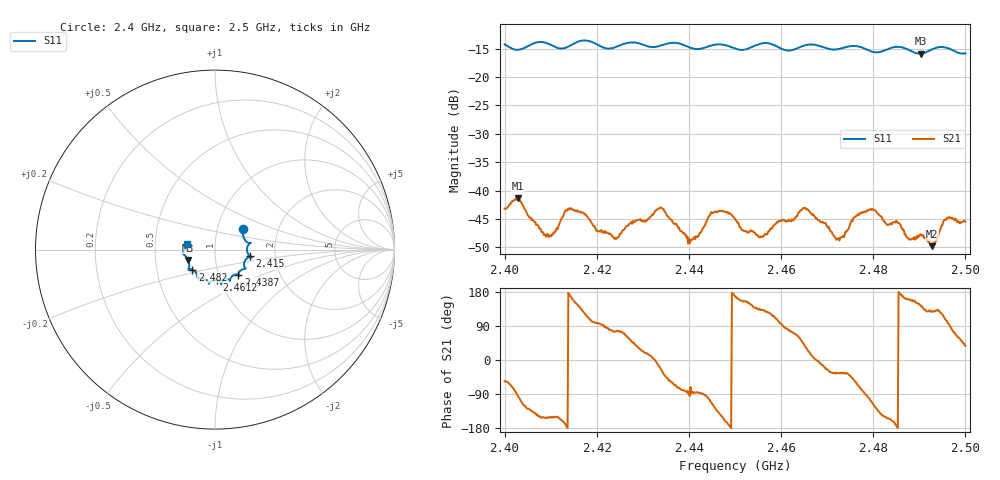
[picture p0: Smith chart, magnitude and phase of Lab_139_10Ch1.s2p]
# Hz S RI R 50
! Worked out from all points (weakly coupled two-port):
!   601 points, 2.4 GHz to 2.5 GHz, reference 50 ohm
!   highest |S21| = -41.36 dB at 2.4028 GHz (marker M1); lowest = -49.8 dB at 2.4928 GHz (marker M2)
!   lowest |S11| = -15.9 dB at 2.4903 GHz (marker M3), VSWR 1.38, Z = 36.8 - j4.42 ohm
!   |S11| at or under -10 dB: start of sweep to end of sweep
!   S12 and S22 are empty: the file has one direction only
!   S11 on the Smith chart (normalised r, x): 2.4 GHz: 1.33, +0.31; 2.415 GHz: 1.47, -0.11; 2.4387 GHz: 1.24, -0.36; 2.4612 GHz: 0.96, -0.34; 2.482 GHz: 0.76, -0.17; 2.5 GHz: 0.73, +0.05
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2.4e9  0.1575 0.1127  0.00387 -0.00576  0 0  0 0
2.402833e9  0.1607 0.065  -0.000444 -0.00854  0 0  0 0
2.409333e9  0.1945 0.0355  -0.00367 -0.00194  0 0  0 0
2.415e9  0.1928 -0.0365  -0.00617 0.00269  0 0  0 0
2.416667e9  0.2039 -0.0442  -0.00437 0.00461  0 0  0 0
2.424167e9  0.1616 -0.0872  0.000936 0.00362  0 0  0 0
2.433333e9  0.132 -0.1316  0.00668 -0.0016  0 0  0 0
2.438667e9  0.1308 -0.1413  0.000807 -0.00413  0 0  0 0
2.4415e9  0.1044 -0.142  0.00029 -0.00394  0 0  0 0
2.445333e9  0.0831 -0.1724  -0.00331 -0.00546  0 0  0 0
2.45e9  0.0686 -0.1645  -0.00546 0.00121  0 0  0 0
2.455667e9  0.0356 -0.1936  -0.00261 0.00291  0 0  0 0
2.461167e9  0.0102 -0.171  0.000638 0.00534  0 0  0 0
2.466667e9  -0.0345 -0.1903  0.00603 0.00124  0 0  0 0
2.472333e9  -0.0703 -0.1607  0.00312 -0.00217  0 0  0 0
2.4775e9  -0.0974 -0.154  0.00128 -0.00626  0 0  0 0
2.482e9  -0.1262 -0.1113  -0.00467 -0.00303  0 0  0 0
2.483333e9  -0.14 -0.1085  -0.00453 -0.00212  0 0  0 0
2.490333e9  -0.1493 -0.0585  -0.00332 0.00241  0 0  0 0
2.492833e9  -0.1732 -0.0276  -0.00199 0.00255  0 0  0 0
2.496e9  -0.1795 -0.0168  -0.00126 0.0056  0 0  0 0
2.5e9  -0.1583 0.0329  0.00422 0.00324  0 0  0 0
